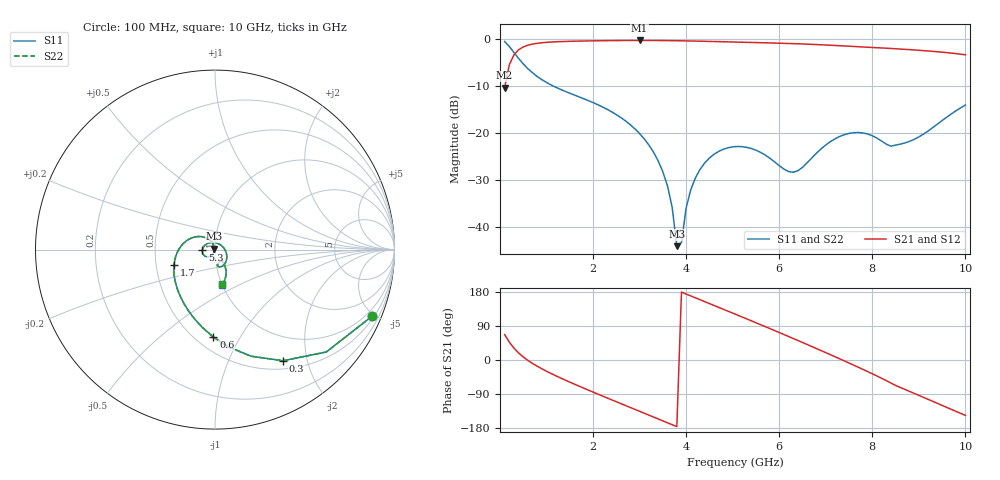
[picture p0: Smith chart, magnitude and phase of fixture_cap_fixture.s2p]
! Created Wed Feb  5 17:15:03 2025
# hz S ma R 50
! 2 Port Network Data from SP1.SP block
! freq  magS11  angS11  magS21  angS21  magS12  angS12  magS22  angS22
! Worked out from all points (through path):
!   100 points, 100 MHz to 10 GHz, reference 50 ohm
!   highest |S21| = -0.21 dB at 3 GHz (marker M1); lowest = -10.3 dB at 100 MHz (marker M2)
!   group delay of S21, straight-line fit = 148 ps
!   lowest |S11| = -44.2 dB at 3.8 GHz (marker M3), VSWR 1.01, Z = 49.6 + j0.478 ohm
!   |S11| at or under -10 dB: 1.155 GHz to end of sweep
!   |S22| runs from -44.2 to -0.4 dB; largest |S21 - S12| = 0
!   S11 on the Smith chart (normalised r, x): 100 MHz: 0.62, -4.87; 300 MHz: 0.61, -1.61; 600 MHz: 0.61, -0.78; 1.7 GHz: 0.62, -0.11; 5.3 GHz: 0.87, -0.00; 10 GHz: 1.00, -0.41
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1e8  0.9517 -22.8  0.3042 67.1  0.3042 67.1  0.9517 -22.8
3e8  0.7263 -58.5  0.6837 31.5  0.6837 31.5  0.7263 -58.5
6e8  0.4873 -91.1  0.8687 -1.0  0.8687 -1.0  0.4873 -91.1
1e9  0.347 -119.9  0.9319 -29.6  0.9319 -29.6  0.347 -119.9
1.7e9  0.2433 -159.8  0.961 -69.0  0.961 -69.0  0.2433 -159.8
1.8e9  0.2325 -165.1  0.9631 -74.3  0.9631 -74.3  0.2325 -165.1
2.4e9  0.1685 163.9  0.9725 -105.1  0.9725 -105.1  0.1685 163.9
3e9  0.09857 133.8  0.9762 -135.4  0.9762 -135.4  0.09857 133.7
3.4e9  0.05028 115.1  0.9746 -155.6  0.9746 -155.6  0.05028 115.0
3.7e9  0.01606 108.8  0.971 -170.8  0.971 -170.8  0.01606 108.7
3.8e9  0.006163 128.5  0.9694 -175.8  0.9694 -175.8  0.006161 128.4
3.9e9  0.006729 -130.4  0.9675 179.1  0.9675 179.1  0.006727 -130.4
4e9  0.01578 -115.0  0.9655 174.1  0.9655 174.1  0.01578 -115.1
4.3e9  0.0409 -122.5  0.9585 159.0  0.9585 159.0  0.0409 -122.6
5.1e9  0.07171 -166.0  0.9374 118.7  0.9374 118.7  0.07173 -166.1
5.3e9  0.07025 -178.9  0.932 108.5  0.932 108.5  0.07027 -179.0
6.2e9  0.0387 84.5  0.9061 62.1  0.9061 62.1  0.03867 84.5
6.7e9  0.05409 1.6  0.8868 35.5  0.8868 35.5  0.05394 1.4
7.5e9  0.09898 -61.0  0.847 -8.0  0.847 -8.0  0.09866 -61.2
8.4e9  0.07235 -66.6  0.8012 -60.7  0.8012 -60.7  0.07158 -66.7
9.1e9  0.09737 -58.6  0.76 -98.6  0.76 -98.6  0.09679 -58.4
1e10  0.1989 -78.0  0.6861 -146.2  0.6861 -146.2  0.1986 -78.0
